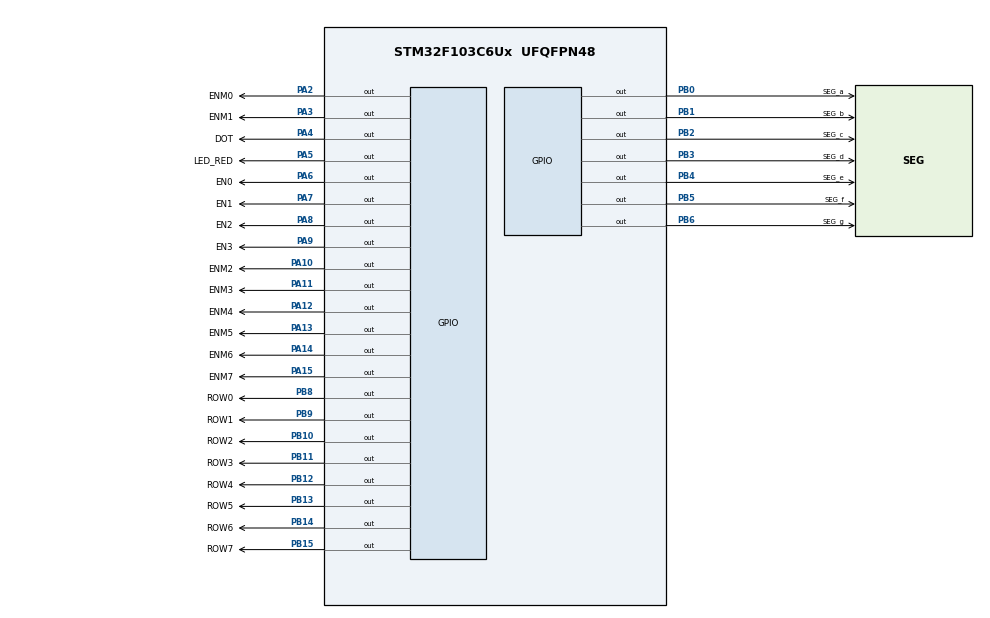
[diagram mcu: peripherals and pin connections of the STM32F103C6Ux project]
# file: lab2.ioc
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Mcu.Family=STM32F1
Mcu.Name=STM32F103C6Ux
Mcu.Package=UFQFPN48
NVIC.PriorityGroup=NVIC_PRIORITYGROUP_4
NVIC.TIM2_IRQn=true\:0\:0\:false\:false\:true\:true\:true
PA10.GPIO_Label=ENM2
PA10.Signal=GPIO_Output
PA11.GPIO_Label=ENM3
PA11.Signal=GPIO_Output
PA12.GPIO_Label=ENM4
PA12.Signal=GPIO_Output
PA13.GPIO_Label=ENM5
PA13.Signal=GPIO_Output
PA14.GPIO_Label=ENM6
PA14.Signal=GPIO_Output
PA15.GPIO_Label=ENM7
PA15.Signal=GPIO_Output
PA2.GPIO_Label=ENM0
PA2.Signal=GPIO_Output
PA3.GPIO_Label=ENM1
PA3.Signal=GPIO_Output
PA4.GPIO_Label=DOT
PA4.Signal=GPIO_Output
PA5.GPIO_Label=LED_RED
PA5.Signal=GPIO_Output
PA6.GPIO_Label=EN0
PA6.Signal=GPIO_Output
PA7.GPIO_Label=EN1
PA7.Signal=GPIO_Output
PA8.GPIO_Label=EN2
PA8.Signal=GPIO_Output
PA9.GPIO_Label=EN3
PA9.Signal=GPIO_Output
PB0.GPIO_Label=SEG_a
PB0.Signal=GPIO_Output
PB1.GPIO_Label=SEG_b
PB1.Signal=GPIO_Output
PB10.GPIO_Label=ROW2
PB10.Signal=GPIO_Output
PB11.GPIO_Label=ROW3
PB11.Signal=GPIO_Output
PB12.GPIO_Label=ROW4
PB12.Signal=GPIO_Output
PB13.GPIO_Label=ROW5
PB13.Signal=GPIO_Output
PB14.GPIO_Label=ROW6
PB14.Signal=GPIO_Output
PB15.GPIO_Label=ROW7
PB15.Signal=GPIO_Output
PB2.GPIO_Label=SEG_c
PB2.Signal=GPIO_Output
PB3.GPIO_Label=SEG_d
PB3.Signal=GPIO_Output
PB4.GPIO_Label=SEG_e
PB4.Signal=GPIO_Output
PB5.GPIO_Label=SEG_f
PB5.Signal=GPIO_Output
PB6.GPIO_Label=SEG_g
PB6.Signal=GPIO_Output
PB8.GPIO_Label=ROW0
PB8.Signal=GPIO_Output
PB9.GPIO_Label=ROW1
PB9.Signal=GPIO_Output
ProjectManager.HeapSize=0x200
ProjectManager.StackSize=0x400
ProjectManager.TargetToolchain=STM32CubeIDE
RCC.APB1Freq_Value=8000000
RCC.APB2Freq_Value=8000000
TIM2.Period=9
TIM2.Prescaler=7999
VP_SYS_VS_ND.Mode=No_Debug
VP_TIM2_VS_ClockSourceINT.Mode=Internal
board=custom

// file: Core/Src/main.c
/* USER CODE BEGIN Header */
/**
  ******************************************************************************
  * @file           : main.c
  * @brief          : Main program body
  ******************************************************************************
  * @attention
  *
  * <h2><center>&copy; Copyright (c) 2024 STMicroelectronics.
  * All rights reserved.</center></h2>
  *
  * This software component is licensed by ST under BSD 3-Clause license,
  * the "License"; You may not use this file except in compliance with the
  * License. You may obtain a copy of the License at:
  *                        opensource.org/licenses/BSD-3-Clause
  *
  ******************************************************************************
  */
/* USER CODE END Header */
#include "main.h"

TIM_HandleTypeDef htim2;

void SystemClock_Config(void);
static void MX_TIM2_Init(void);
static void MX_GPIO_Init(void);

/* USER CODE BEGIN 0 */

const int MAX_LED_MATRIX = 8;
uint8_t matrix_buffer[8] = {
		0x18, 0x24, 0x24, 0x7E, 0x42, 0x42, 0x42, 0x00
};
int index_led_matrix = 0;
void updateLEDMatrix(int index) {
    HAL_GPIO_WritePin(GPIOA, ENM0_Pin | ENM1_Pin | ENM2_Pin | ENM3_Pin | ENM4_Pin | ENM5_Pin | ENM6_Pin | ENM7_Pin, GPIO_PIN_SET);

    switch (index) {
        case 0: HAL_GPIO_WritePin(ENM0_GPIO_Port, ENM0_Pin, GPIO_PIN_RESET); break;
        case 1: HAL_GPIO_WritePin(ENM1_GPIO_Port, ENM1_Pin, GPIO_PIN_RESET); break;
        case 2: HAL_GPIO_WritePin(ENM2_GPIO_Port, ENM2_Pin, GPIO_PIN_RESET); break;
        case 3: HAL_GPIO_WritePin(ENM3_GPIO_Port, ENM3_Pin, GPIO_PIN_RESET); break;
        case 4: HAL_GPIO_WritePin(ENM4_GPIO_Port, ENM4_Pin, GPIO_PIN_RESET); break;
        case 5: HAL_GPIO_WritePin(ENM5_GPIO_Port, ENM5_Pin, GPIO_PIN_RESET); break;
        case 6: HAL_GPIO_WritePin(ENM6_GPIO_Port, ENM6_Pin, GPIO_PIN_RESET); break;
        case 7: HAL_GPIO_WritePin(ENM7_GPIO_Port, ENM7_Pin, GPIO_PIN_RESET); break;
        default: break;
    }

    for (int i = 0; i < 8; i++) {
        HAL_GPIO_WritePin(GPIOB, (ROW0_Pin << i), (matrix_buffer[index] & (1 << i)) ? GPIO_PIN_RESET : GPIO_PIN_SET);
    }
}

void shiftLeft(uint8_t* matrix) {
    for (int i = 0; i < 8; i++) {
        matrix[i] = (matrix[i] << 1);
    }
}

int timer0_counter = 0;
int timer0_flag = 0;
int TIMER_CYCLE = 10;
void setTimer0 ( int duration ) {
	timer0_counter = duration / TIMER_CYCLE ;
	timer0_flag = 0;
}

int timer1_counter = 0;
int timer1_flag = 0;
void setTimer1 ( int duration ) {
	timer1_counter = duration / TIMER_CYCLE ;
	timer1_flag = 0;
}

void timer_run () {
	if( timer0_counter > 0) {
		timer0_counter --;
		if( timer0_counter == 0) timer0_flag = 1;
	}

	if( timer1_counter > 0) {
		timer1_counter --;
		if( timer1_counter == 0) timer1_flag = 1;
	}
}

/* USER CODE END 0 */

int main(void)
{
  /* USER CODE BEGIN 1 */
//to do ex10

  /* USER CODE END 1 */

  /* MCU Configuration--------------------------------------------------------*/

  /* Reset of all peripherals, Initializes the Flash interface and the Systick. */
  HAL_Init();

  /* Configure the system clock */
  SystemClock_Config();

  /* Initialize all configured peripherals */
  MX_TIM2_Init();
  MX_GPIO_Init();
  /* USER CODE BEGIN 2 */
  HAL_TIM_Base_Start_IT (& htim2 ) ;
  /* USER CODE END 2 */

  /* Infinite loop */
  /* USER CODE BEGIN WHILE */
  setTimer0(80);
  setTimer1(1000);
  while (1)
  {
    /* USER CODE END WHILE */
	  if ( timer1_flag == 1 ) {
		  shiftLeft(matrix_buffer);
		  setTimer1(1000);
	  }
	  if ( timer0_flag == 1 ) {
		  updateLEDMatrix(index_led_matrix++);
		  setTimer0(80/MAX_LED_MATRIX);
	  }
	  if (!(index_led_matrix < MAX_LED_MATRIX)) index_led_matrix = 0;

  }
}

void SystemClock_Config(void)
{
  RCC_OscInitTypeDef RCC_OscInitStruct = {0};
  RCC_ClkInitTypeDef RCC_ClkInitStruct = {0};

  /** Initializes the RCC Oscillators according to the specified parameters
  * in the RCC_OscInitTypeDef structure.
  */
  RCC_OscInitStruct.OscillatorType = RCC_OSCILLATORTYPE_HSI;
  RCC_OscInitStruct.HSIState = RCC_HSI_ON;
  RCC_OscInitStruct.HSICalibrationValue = RCC_HSICALIBRATION_DEFAULT;
  RCC_OscInitStruct.PLL.PLLState = RCC_PLL_NONE;
  if (HAL_RCC_OscConfig(&RCC_OscInitStruct) != HAL_OK)
  {
    Error_Handler();
  }
  /** Initializes the CPU, AHB and APB buses clocks
  */
  RCC_ClkInitStruct.ClockType = RCC_CLOCKTYPE_HCLK|RCC_CLOCKTYPE_SYSCLK
                              |RCC_CLOCKTYPE_PCLK1|RCC_CLOCKTYPE_PCLK2;
  RCC_ClkInitStruct.SYSCLKSource = RCC_SYSCLKSOURCE_HSI;
  RCC_ClkInitStruct.AHBCLKDivider = RCC_SYSCLK_DIV1;
  RCC_ClkInitStruct.APB1CLKDivider = RCC_HCLK_DIV1;
  RCC_ClkInitStruct.APB2CLKDivider = RCC_HCLK_DIV1;

  if (HAL_RCC_ClockConfig(&RCC_ClkInitStruct, FLASH_LATENCY_0) != HAL_OK)
  {
    Error_Handler();
  }
}

static void MX_TIM2_Init(void)
{

  TIM_ClockConfigTypeDef sClockSourceConfig = {0};
  TIM_MasterConfigTypeDef sMasterConfig = {0};

  htim2.Instance = TIM2;
  htim2.Init.Prescaler = 7999;
  htim2.Init.CounterMode = TIM_COUNTERMODE_UP;
  htim2.Init.Period = 9;
  htim2.Init.ClockDivision = TIM_CLOCKDIVISION_DIV1;
  htim2.Init.AutoReloadPreload = TIM_AUTORELOAD_PRELOAD_DISABLE;
  if (HAL_TIM_Base_Init(&htim2) != HAL_OK)
  {
    Error_Handler();
  }
  sClockSourceConfig.ClockSource = TIM_CLOCKSOURCE_INTERNAL;
  if (HAL_TIM_ConfigClockSource(&htim2, &sClockSourceConfig) != HAL_OK)
  {
    Error_Handler();
  }
  sMasterConfig.MasterOutputTrigger = TIM_TRGO_RESET;
  sMasterConfig.MasterSlaveMode = TIM_MASTERSLAVEMODE_DISABLE;
  if (HAL_TIMEx_MasterConfigSynchronization(&htim2, &sMasterConfig) != HAL_OK)
  {
    Error_Handler();
  }

}

static void MX_GPIO_Init(void)
{
  GPIO_InitTypeDef GPIO_InitStruct = {0};

  /* GPIO Ports Clock Enable */
  __HAL_RCC_GPIOA_CLK_ENABLE();
  __HAL_RCC_GPIOB_CLK_ENABLE();

  /*Configure GPIO pin Output Level */
  HAL_GPIO_WritePin(GPIOA, ENM0_Pin|ENM1_Pin|DOT_Pin|LED_RED_Pin
                          |EN0_Pin|EN1_Pin|EN2_Pin|EN3_Pin
                          |ENM2_Pin|ENM3_Pin|ENM4_Pin|ENM5_Pin
                          |ENM6_Pin|ENM7_Pin, GPIO_PIN_RESET);

  /*Configure GPIO pin Output Level */
  HAL_GPIO_WritePin(GPIOB, SEG_a_Pin|SEG_b_Pin|SEG_c_Pin|ROW2_Pin
                          |ROW3_Pin|ROW4_Pin|ROW5_Pin|ROW6_Pin
                          |ROW7_Pin|SEG_d_Pin|SEG_e_Pin|SEG_f_Pin
                          |SEG_g_Pin|ROW0_Pin|ROW1_Pin, GPIO_PIN_RESET);

  /*Configure GPIO pins : ENM0_Pin ENM1_Pin DOT_Pin LED_RED_Pin
                           EN0_Pin EN1_Pin EN2_Pin EN3_Pin
                           ENM2_Pin ENM3_Pin ENM4_Pin ENM5_Pin
                           ENM6_Pin ENM7_Pin */
  GPIO_InitStruct.Pin = ENM0_Pin|ENM1_Pin|DOT_Pin|LED_RED_Pin
                          |EN0_Pin|EN1_Pin|EN2_Pin|EN3_Pin
                          |ENM2_Pin|ENM3_Pin|ENM4_Pin|ENM5_Pin
                          |ENM6_Pin|ENM7_Pin;
  GPIO_InitStruct.Mode = GPIO_MODE_OUTPUT_PP;
  GPIO_InitStruct.Pull = GPIO_NOPULL;
  GPIO_InitStruct.Speed = GPIO_SPEED_FREQ_LOW;
  HAL_GPIO_Init(GPIOA, &GPIO_InitStruct);

  /*Configure GPIO pins : SEG_a_Pin SEG_b_Pin SEG_c_Pin ROW2_Pin
                           ROW3_Pin ROW4_Pin ROW5_Pin ROW6_Pin
                           ROW7_Pin SEG_d_Pin SEG_e_Pin SEG_f_Pin
                           SEG_g_Pin ROW0_Pin ROW1_Pin */
  GPIO_InitStruct.Pin = SEG_a_Pin|SEG_b_Pin|SEG_c_Pin|ROW2_Pin
                          |ROW3_Pin|ROW4_Pin|ROW5_Pin|ROW6_Pin
                          |ROW7_Pin|SEG_d_Pin|SEG_e_Pin|SEG_f_Pin
                          |SEG_g_Pin|ROW0_Pin|ROW1_Pin;
  GPIO_InitStruct.Mode = GPIO_MODE_OUTPUT_PP;
  GPIO_InitStruct.Pull = GPIO_NOPULL;
  GPIO_InitStruct.Speed = GPIO_SPEED_FREQ_LOW;
  HAL_GPIO_Init(GPIOB, &GPIO_InitStruct);

}

/* USER CODE BEGIN 4 */
int counter = 100;
void HAL_TIM_PeriodElapsedCallback ( TIM_HandleTypeDef * htim )
{
	timer_run();
}
/* USER CODE END 4 */

void Error_Handler(void)
{
  __disable_irq();
  while (1)
  {
  }
}

/************************ (C) COPYRIGHT STMicroelectronics *****END OF FILE****/
